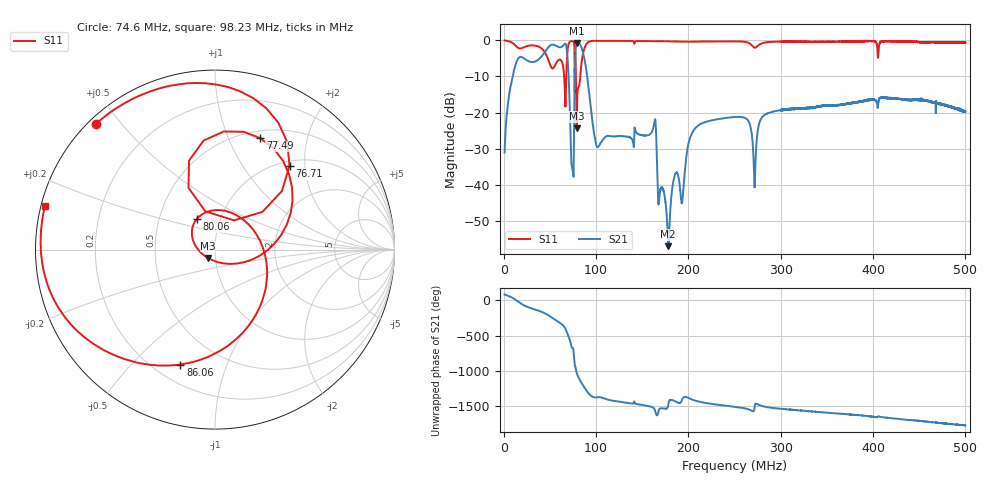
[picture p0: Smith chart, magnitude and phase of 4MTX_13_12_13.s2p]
! NanoVNA-App
! Date: 2026-08-18 21:06:13
! Start: 1MHz Stop: 500MHz Points: 6401
! S-Parameter data: F S11 S21 S12 S22
# Hz S RI R 50
!  Frequency  S11_Real  S11_Imag  S21_Real  S21_Imag  S12_Real  S12_Imag  S22_Real  S22_Imag
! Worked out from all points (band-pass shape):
!   6401 points, 1 MHz to 500 MHz, reference 50 ohm
!   highest |S21| = -0.82 dB at 79.28 MHz (marker M1); lowest = -56.9 dB at 178.2 MHz (marker M2)
!   |S21| within 3 dB of the highest: 43.04 MHz to 68.8 MHz (25.76 MHz wide, 46.1 % of centre); 77.75 MHz to 86.24 MHz (8.487 MHz wide, 10.4 % of centre)
!   lowest |S11| = -24.3 dB at 78.97 MHz (marker M3), VSWR 1.13, Z = 46.1 - j4.32 ohm
!   |S11| at or under -10 dB: 65.47 MHz to 67.77 MHz (2.309 MHz wide, 3.47 % of centre); 76.87279 MHz to 77.07268 MHz (199.9 kHz wide, 0.26 % of centre); 78.23 MHz to 82.89 MHz (4.669 MHz wide, 5.8 % of centre)
!   S12 and S22 are empty: the file has one direction only
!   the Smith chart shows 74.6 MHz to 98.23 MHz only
!   S11 on the Smith chart (normalised r, x): 74.6 MHz: 0.02, +0.43; 76.71 MHz: 1.09, +1.67; 77.49 MHz: 0.58, +1.32; 80.06 MHz: 0.77, +0.28; 86.06 MHz: 0.30, -0.70; 98.23 MHz: 0.01, +0.13
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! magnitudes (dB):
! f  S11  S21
! 1 MHz  -0.1  -31.0
! 15.42 MHz  -2.1  -5.2
! 65.48 MHz  -10.1  -1.2
! 74.6 MHz  -0.3  -35.9
! 76.71 MHz  -4.1  -10.0
! 77.49 MHz  -3.5  -6.3
! 78.97 MHz  -24.3  -0.9
! 79.28 MHz  -19.2  -0.8
! 80.06 MHz  -14.0  -0.9
! 84.19 MHz  -6.5  -2.0
! 86.06 MHz  -3.5  -3.6
! 98.23 MHz  -0.2  -26.4
! 162.6 MHz  -0.3  -23.5
! 167.4 MHz  -0.3  -44.8
! 178.2 MHz  -0.3  -56.9
! 205.4 MHz  -0.4  -25.0
! 250.5 MHz  -0.4  -21.2
! 271.7 MHz  -2.1  -40.7
! 281.8 MHz  -0.7  -20.8
! 333.7 MHz  -0.5  -18.6
! 416.9 MHz  -0.3  -15.9
! 500 MHz  -0.7  -19.8
